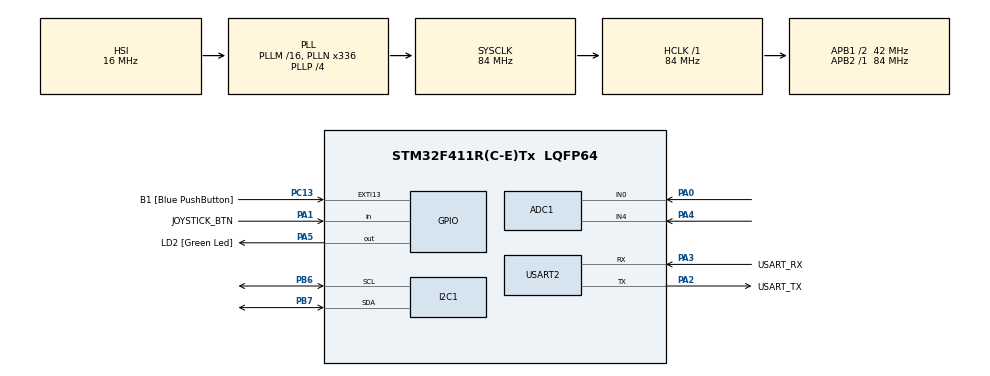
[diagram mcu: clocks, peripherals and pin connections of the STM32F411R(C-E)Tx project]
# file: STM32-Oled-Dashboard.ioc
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ADC1.Channel-1\#ChannelRegularConversion=ADC_CHANNEL_0
ADC1.NbrOfConversionFlag=1
ADC1.Rank-1\#ChannelRegularConversion=1
ADC1.SamplingTime-1\#ChannelRegularConversion=ADC_SAMPLETIME_3CYCLES
ADC1.master=1
Mcu.Family=STM32F4
Mcu.Name=STM32F411R(C-E)Tx
Mcu.Package=LQFP64
NVIC.PriorityGroup=NVIC_PRIORITYGROUP_0
PA0-WKUP.Signal=ADCx_IN0
PA1.GPIO_Label=JOYSTICK_BTN
PA1.GPIO_PuPd=GPIO_PULLUP
PA1.Signal=GPIO_Input
PA13.GPIO_Label=TMS
PA13.Mode=Serial_Wire
PA13.Signal=SYS_JTMS-SWDIO
PA14.GPIO_Label=TCK
PA14.Mode=Serial_Wire
PA14.Signal=SYS_JTCK-SWCLK
PA2.GPIO_Label=USART_TX
PA2.Mode=Asynchronous
PA2.Signal=USART2_TX
PA3.GPIO_Label=USART_RX
PA3.Mode=Asynchronous
PA3.Signal=USART2_RX
PA4.Signal=ADCx_IN4
PA5.GPIO_Label=LD2 [Green Led]
PA5.Signal=GPIO_Output
PB3.GPIO_Label=SWO
PB3.Signal=SYS_JTDO-SWO
PB6.Mode=I2C
PB6.Signal=I2C1_SCL
PB7.Mode=I2C
PB7.Signal=I2C1_SDA
PC13-ANTI_TAMP.GPIO_Label=B1 [Blue PushButton]
PC13-ANTI_TAMP.GPIO_ModeDefaultEXTI=GPIO_MODE_IT_FALLING
PC13-ANTI_TAMP.Signal=GPXTI13
PC14-OSC32_IN.Mode=LSE-External-Oscillator
PC14-OSC32_IN.Signal=RCC_OSC32_IN
PC15-OSC32_OUT.Mode=LSE-External-Oscillator
PC15-OSC32_OUT.Signal=RCC_OSC32_OUT
PH0\ -\ OSC_IN.Mode=HSE-External-Clock-Source
PH0\ -\ OSC_IN.Signal=RCC_OSC_IN
PH1\ -\ OSC_OUT.Mode=HSE-External-Clock-Source
PH1\ -\ OSC_OUT.Signal=RCC_OSC_OUT
ProjectManager.HeapSize=0x200
ProjectManager.StackSize=0x400
ProjectManager.TargetToolchain=STM32CubeIDE
RCC.48MHZClocksFreq_Value=84000000
RCC.AHBFreq_Value=84000000
RCC.APB1CLKDivider=RCC_HCLK_DIV2
RCC.APB1Freq_Value=42000000
RCC.APB1TimFreq_Value=84000000
RCC.APB2Freq_Value=84000000
RCC.APB2TimFreq_Value=84000000
RCC.CortexFreq_Value=84000000
RCC.FLatency-AdvancedSettings=FLASH_LATENCY_2
RCC.HCLKFreq_Value=84000000
RCC.HSE_VALUE=8000000
RCC.HSI_VALUE=16000000
RCC.PLLN=336
RCC.PLLP=RCC_PLLP_DIV4
RCC.SYSCLKFreq_VALUE=84000000
RCC.SYSCLKSource=RCC_SYSCLKSOURCE_PLLCLK
RCC.VCOOutputFreq_Value=336000000
SH.ADCx_IN0.0=ADC1_IN0,IN0
SH.ADCx_IN4.0=ADC1_IN4,IN4
USART2.VirtualMode=VM_ASYNC
board=NUCLEO-F411RE

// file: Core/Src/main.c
/* USER CODE BEGIN Header */
/**
  ******************************************************************************
  * @file           : main.c
  * @brief          : Main program body
  ******************************************************************************
  * @attention
  *
  * Copyright (c) 2026 STMicroelectronics.
  * All rights reserved.
  *
  * This software is licensed under terms that can be found in the LICENSE file
  * in the root directory of this software component.
  * If no LICENSE file comes with this software, it is provided AS-IS.
  *
  ******************************************************************************
  */
/* USER CODE END Header */
#include "main.h"

/* USER CODE BEGIN Includes */

#include <string.h>
#include <stdio.h>

/* USER CODE END Includes */

ADC_HandleTypeDef hadc1;

I2C_HandleTypeDef hi2c1;

UART_HandleTypeDef huart2;

void SystemClock_Config(void);
static void MX_GPIO_Init(void);
static void MX_I2C1_Init(void);
static void MX_USART2_UART_Init(void);
static void MX_ADC1_Init(void);

/* USER CODE BEGIN 0 */

const uint8_t mini_font[15][5] = {
    {0x00, 0x00, 0x00, 0x00, 0x00}, // Index 0: ' '
    {0x7E, 0x11, 0x11, 0x11, 0x7E}, // Index 1: 'A'
    {0x7F, 0x49, 0x49, 0x49, 0x36}, // Index 2: 'B'
    {0x3E, 0x41, 0x41, 0x41, 0x22}, // Index 3: 'C'
	{0x7F, 0x41, 0x41, 0x22, 0x1C}, // Index 4: 'D'
    {0x3E, 0x51, 0x49, 0x45, 0x3E}, // Index 4: '0'
    {0x00, 0x42, 0x7F, 0x40, 0x00}, // Index 5: '1'
    {0x42, 0x61, 0x51, 0x49, 0x46}, // Index 6: '2'
    {0x21, 0x41, 0x45, 0x4B, 0x31}, // Index 7: '3'
    {0x18, 0x14, 0x12, 0x7F, 0x10}, // Index 8: '4'
    {0x27, 0x45, 0x45, 0x45, 0x39}, // Index 9: '5'
    {0x3C, 0x4A, 0x49, 0x49, 0x30}, // Index 10: '6'
    {0x01, 0x71, 0x09, 0x05, 0x03}, // Index 11: '7'
    {0x36, 0x49, 0x49, 0x49, 0x36}, // Index 12: '8'
    {0x06, 0x49, 0x49, 0x29, 0x1E}  // Index 13: '9'
};

void OLED_DrawChar(char character, uint8_t x, uint8_t page)
{
	uint8_t index = 0;
	if (character == ' ') index = 0;
	else if (character >= 'A' && character <= 'D') index = (character - 'A') + 1;
	else if (character >= '0' && character <= '9') index = (character - '0') + 5;
	else return;

	uint8_t set_window_cmds[] = {
		0x21, x, x + 4,
		0x22, page, page
	};
	HAL_I2C_Mem_Write(&hi2c1, (0x3C << 1), 0x00, 1, set_window_cmds, sizeof(set_window_cmds), 100);

	uint8_t char_data[5];
	for (int i = 0; i < 5; i++) {
		char_data[i] = mini_font[index][i];
	}

	HAL_I2C_Mem_Write(&hi2c1, (0x3C << 1), 0x40, 1, char_data, sizeof(char_data), 100);
}

void OLED_DrawCursor(uint8_t x, uint8_t page, uint8_t color)
{
	if (x > 120) x = 120;
	if (page > 7) page = 7;

	uint8_t set_window_cmds[] = {
		0x21, // Set Column Address
		x,   // X-Start
		x + 7,   // X-End
		0x22, // Set Page Address
		page,    // Y-Start
		page     // Y-End
	};

	HAL_I2C_Mem_Write(&hi2c1, (0x3C << 1), 0x00, 1, set_window_cmds, sizeof(set_window_cmds), 100);
	uint8_t block_data[8];
	memset(block_data, color, sizeof(block_data));
	HAL_I2C_Mem_Write(&hi2c1, (0x3C << 1), 0x40, 1, block_data, sizeof(block_data), 100);
}

void OLED_Print(char* str, uint8_t x, uint8_t page) {
    int i = 0;

    while (str[i] != '\0') {
        OLED_DrawChar(str[i], x, page);
        x += 6;
        i++;

        if (x > 122) break;
    }
}

/* USER CODE END 0 */

int main(void)
{

  /* MCU Configuration--------------------------------------------------------*/

  /* Reset of all peripherals, Initializes the Flash interface and the Systick. */
  HAL_Init();

  /* Configure the system clock */
  SystemClock_Config();

  /* Initialize all configured peripherals */
  MX_GPIO_Init();
  MX_I2C1_Init();
  MX_USART2_UART_Init();
  MX_ADC1_Init();
  /* USER CODE BEGIN 2 */

  uint8_t init_cmds[] = {
        0xAE, // Display OFF
        0x20, 0x00, // Memory Addressing Mode: Horizontal
        0x81, 0xFF, // max contrast
        0xA1, // Segment Remap (mirror x axis)
        0xC8, // COM Output Scan Direction (mirror y axis)
        0x8D, 0x14, // Charge Pump
        0xAF  // Display ON
    };

  HAL_I2C_Mem_Write(&hi2c1, (0x3C << 1), 0x00, 1, init_cmds, sizeof(init_cmds), 100);

  uint8_t reset_window[] = {
	0x21, 0, 127,
	0x22, 0, 7
  };
  HAL_I2C_Mem_Write(&hi2c1, (0x3C << 1), 0x00, 1, reset_window, sizeof(reset_window), 100);
  uint8_t zero_buffer[1024];
  memset(zero_buffer, 0, sizeof(zero_buffer));
  HAL_I2C_Mem_Write(&hi2c1, (0x3C << 1), 0x40, 1, zero_buffer, sizeof(zero_buffer), 100);

  /* USER CODE END 2 */

  /* Infinite loop */
  /* USER CODE BEGIN WHILE */

  ADC_ChannelConfTypeDef sConfig = {0};

  while (1)
  {
	  sConfig.Channel = ADC_CHANNEL_0;
	  sConfig.Rank = 1;
	  sConfig.SamplingTime = ADC_SAMPLETIME_15CYCLES;
	  HAL_ADC_ConfigChannel(&hadc1, &sConfig);

	  HAL_ADC_Start(&hadc1);
	  HAL_ADC_PollForConversion(&hadc1, 10);
	  uint32_t adc_x = HAL_ADC_GetValue(&hadc1);

	  sConfig.Channel = ADC_CHANNEL_4;
	  HAL_ADC_ConfigChannel(&hadc1, &sConfig);

	  HAL_ADC_Start(&hadc1);
	  HAL_ADC_PollForConversion(&hadc1, 10);
	  uint32_t adc_y = HAL_ADC_GetValue(&hadc1);

	  uint8_t btn_val = HAL_GPIO_ReadPin(JOYSTICK_BTN_GPIO_Port, JOYSTICK_BTN_Pin);

	  char str_x[20];
	  char str_y[20];
	  char str_btn[20];

	  sprintf(str_x, "X: %lu    ", adc_x);
	  sprintf(str_y, "Y: %lu    ", adc_y);
	  sprintf(str_btn, "BTN: %d  ", btn_val);

	  OLED_Print(str_x, 10, 1);
	  OLED_Print(str_y, 10, 3);
	  OLED_Print(str_btn, 10, 5);

	  HAL_Delay(50);

    /* USER CODE END WHILE */

  }
}

void SystemClock_Config(void)
{
  RCC_OscInitTypeDef RCC_OscInitStruct = {0};
  RCC_ClkInitTypeDef RCC_ClkInitStruct = {0};

  /** Configure the main internal regulator output voltage
  */
  __HAL_RCC_PWR_CLK_ENABLE();
  __HAL_PWR_VOLTAGESCALING_CONFIG(PWR_REGULATOR_VOLTAGE_SCALE1);

  /** Initializes the RCC Oscillators according to the specified parameters
  * in the RCC_OscInitTypeDef structure.
  */
  RCC_OscInitStruct.OscillatorType = RCC_OSCILLATORTYPE_HSI;
  RCC_OscInitStruct.HSIState = RCC_HSI_ON;
  RCC_OscInitStruct.HSICalibrationValue = RCC_HSICALIBRATION_DEFAULT;
  RCC_OscInitStruct.PLL.PLLState = RCC_PLL_ON;
  RCC_OscInitStruct.PLL.PLLSource = RCC_PLLSOURCE_HSI;
  RCC_OscInitStruct.PLL.PLLM = 16;
  RCC_OscInitStruct.PLL.PLLN = 336;
  RCC_OscInitStruct.PLL.PLLP = RCC_PLLP_DIV4;
  RCC_OscInitStruct.PLL.PLLQ = 4;
  if (HAL_RCC_OscConfig(&RCC_OscInitStruct) != HAL_OK)
  {
    Error_Handler();
  }

  /** Initializes the CPU, AHB and APB buses clocks
  */
  RCC_ClkInitStruct.ClockType = RCC_CLOCKTYPE_HCLK|RCC_CLOCKTYPE_SYSCLK
                              |RCC_CLOCKTYPE_PCLK1|RCC_CLOCKTYPE_PCLK2;
  RCC_ClkInitStruct.SYSCLKSource = RCC_SYSCLKSOURCE_PLLCLK;
  RCC_ClkInitStruct.AHBCLKDivider = RCC_SYSCLK_DIV1;
  RCC_ClkInitStruct.APB1CLKDivider = RCC_HCLK_DIV2;
  RCC_ClkInitStruct.APB2CLKDivider = RCC_HCLK_DIV1;

  if (HAL_RCC_ClockConfig(&RCC_ClkInitStruct, FLASH_LATENCY_2) != HAL_OK)
  {
    Error_Handler();
  }
}

static void MX_ADC1_Init(void)
{

  ADC_ChannelConfTypeDef sConfig = {0};

  /** Configure the global features of the ADC (Clock, Resolution, Data Alignment and number of conversion)
  */
  hadc1.Instance = ADC1;
  hadc1.Init.ClockPrescaler = ADC_CLOCK_SYNC_PCLK_DIV4;
  hadc1.Init.Resolution = ADC_RESOLUTION_12B;
  hadc1.Init.ScanConvMode = DISABLE;
  hadc1.Init.ContinuousConvMode = DISABLE;
  hadc1.Init.DiscontinuousConvMode = DISABLE;
  hadc1.Init.ExternalTrigConvEdge = ADC_EXTERNALTRIGCONVEDGE_NONE;
  hadc1.Init.ExternalTrigConv = ADC_SOFTWARE_START;
  hadc1.Init.DataAlign = ADC_DATAALIGN_RIGHT;
  hadc1.Init.NbrOfConversion = 1;
  hadc1.Init.DMAContinuousRequests = DISABLE;
  hadc1.Init.EOCSelection = ADC_EOC_SINGLE_CONV;
  if (HAL_ADC_Init(&hadc1) != HAL_OK)
  {
    Error_Handler();
  }

  /** Configure for the selected ADC regular channel its corresponding rank in the sequencer and its sample time.
  */
  sConfig.Channel = ADC_CHANNEL_0;
  sConfig.Rank = 1;
  sConfig.SamplingTime = ADC_SAMPLETIME_3CYCLES;
  if (HAL_ADC_ConfigChannel(&hadc1, &sConfig) != HAL_OK)
  {
    Error_Handler();
  }

}

static void MX_I2C1_Init(void)
{

  hi2c1.Instance = I2C1;
  hi2c1.Init.ClockSpeed = 100000;
  hi2c1.Init.DutyCycle = I2C_DUTYCYCLE_2;
  hi2c1.Init.OwnAddress1 = 0;
  hi2c1.Init.AddressingMode = I2C_ADDRESSINGMODE_7BIT;
  hi2c1.Init.DualAddressMode = I2C_DUALADDRESS_DISABLE;
  hi2c1.Init.OwnAddress2 = 0;
  hi2c1.Init.GeneralCallMode = I2C_GENERALCALL_DISABLE;
  hi2c1.Init.NoStretchMode = I2C_NOSTRETCH_DISABLE;
  if (HAL_I2C_Init(&hi2c1) != HAL_OK)
  {
    Error_Handler();
  }

}

static void MX_USART2_UART_Init(void)
{

  huart2.Instance = USART2;
  huart2.Init.BaudRate = 115200;
  huart2.Init.WordLength = UART_WORDLENGTH_8B;
  huart2.Init.StopBits = UART_STOPBITS_1;
  huart2.Init.Parity = UART_PARITY_NONE;
  huart2.Init.Mode = UART_MODE_TX_RX;
  huart2.Init.HwFlowCtl = UART_HWCONTROL_NONE;
  huart2.Init.OverSampling = UART_OVERSAMPLING_16;
  if (HAL_UART_Init(&huart2) != HAL_OK)
  {
    Error_Handler();
  }

}

static void MX_GPIO_Init(void)
{
  GPIO_InitTypeDef GPIO_InitStruct = {0};

  /* GPIO Ports Clock Enable */
  __HAL_RCC_GPIOC_CLK_ENABLE();
  __HAL_RCC_GPIOH_CLK_ENABLE();
  __HAL_RCC_GPIOA_CLK_ENABLE();
  __HAL_RCC_GPIOB_CLK_ENABLE();

  /*Configure GPIO pin Output Level */
  HAL_GPIO_WritePin(LD2_GPIO_Port, LD2_Pin, GPIO_PIN_RESET);

  /*Configure GPIO pin : B1_Pin */
  GPIO_InitStruct.Pin = B1_Pin;
  GPIO_InitStruct.Mode = GPIO_MODE_IT_FALLING;
  GPIO_InitStruct.Pull = GPIO_NOPULL;
  HAL_GPIO_Init(B1_GPIO_Port, &GPIO_InitStruct);

  /*Configure GPIO pin : JOYSTICK_BTN_Pin */
  GPIO_InitStruct.Pin = JOYSTICK_BTN_Pin;
  GPIO_InitStruct.Mode = GPIO_MODE_INPUT;
  GPIO_InitStruct.Pull = GPIO_PULLUP;
  HAL_GPIO_Init(JOYSTICK_BTN_GPIO_Port, &GPIO_InitStruct);

  /*Configure GPIO pin : LD2_Pin */
  GPIO_InitStruct.Pin = LD2_Pin;
  GPIO_InitStruct.Mode = GPIO_MODE_OUTPUT_PP;
  GPIO_InitStruct.Pull = GPIO_NOPULL;
  GPIO_InitStruct.Speed = GPIO_SPEED_FREQ_LOW;
  HAL_GPIO_Init(LD2_GPIO_Port, &GPIO_InitStruct);

}

void Error_Handler(void)
{
  __disable_irq();
  while (1)
  {
  }
}
